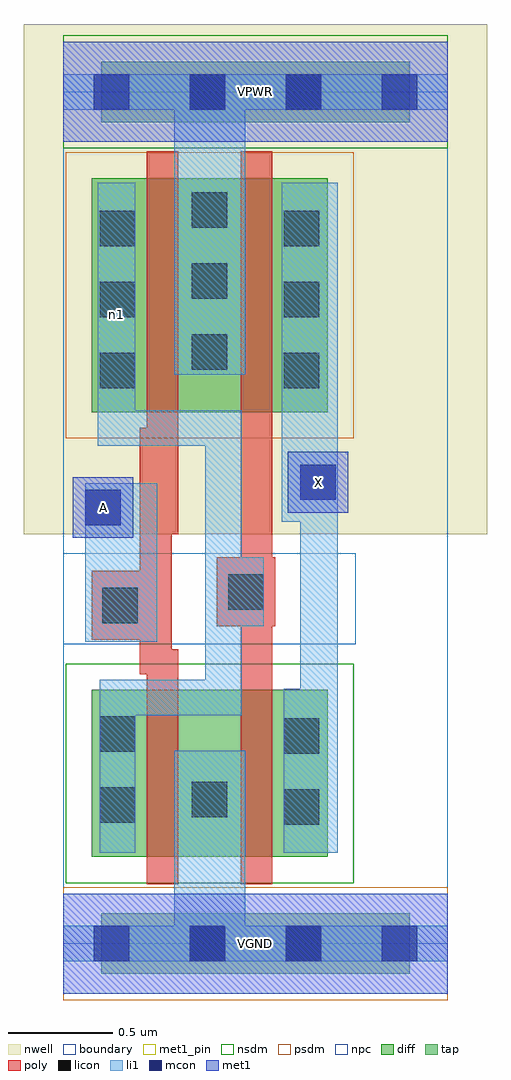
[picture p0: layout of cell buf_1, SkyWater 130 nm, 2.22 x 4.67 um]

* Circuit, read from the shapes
.subckt buf_1 A VGND VPWR X n1
XM1 VGND A n1 VGND sky130_fd_pr__nfet_01v8 w=0.8 l=0.15
XM2 X n1 VGND VGND sky130_fd_pr__nfet_01v8 w=0.8 l=0.15
XM3 VPWR A n1 VPWR sky130_fd_pr__pfet_01v8 w=1.12 l=0.15
XM4 X n1 VPWR VPWR sky130_fd_pr__pfet_01v8 w=1.12 l=0.15
.ends

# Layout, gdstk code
import gdstk
lib = gdstk.Library(unit=1e-6, precision=1e-09)
def R(c, l, rs):  # rectangles x0, y0, x1, y1
    for r in rs: c.add(gdstk.rectangle(r[:2], r[2:], *l))
def A(c, l, x, y, w, h, nx, ny, dx, dy):  # array of equal rectangles
    R(c, l, [(x+i*dx, y+j*dy, x+i*dx+w, y+j*dy+h) for i in range(nx) for j in range(ny)])
nwell = (64, 20)
diff = (65, 20)
tap = (65, 44)
poly = (66, 20)
licon = (66, 44)
li1 = (67, 20)
mcon = (67, 44)
met1_pin = (68, 16)
met1 = (68, 20)
nsdm = (93, 44)
psdm = (94, 20)
npc = (95, 20)
boundary = (235, 4)

buf_1 = lib.new_cell('buf_1')
R(buf_1, nwell, [(-0.19,1.96,2.03,4.405), (0,1.96,1.84,4.405)])
R(buf_1, diff, [(0.135,0.415,1.265,1.215), (0.135,2.545,1.265,3.665)])
R(buf_1, tap, [(0.18,-0.145,1.66,0.145), (0.18,3.935,1.66,4.225)])
R(buf_1, poly, [(0.4,0.285,0.52,3.795), (0.4,0.285,0.55,1.41), (0.85,0.285,1,3.795), (0.365,1.29,0.52,2.47), (0.135,1.455,0.52,1.785), (0.735,1.52,1.015,1.85), (0.4,1.96,0.55,3.795)])
A(buf_1, licon, 0.175, 2.66, 0.17, 0.17, 1, 3, 0, 0.34)
A(buf_1, licon, 1.055, 2.66, 0.17, 0.17, 1, 3, 0, 0.34)
A(buf_1, licon, 0.615, 2.75, 0.17, 0.17, 1, 3, 0, 0.34)
R(buf_1, licon, [(0.605,-0.085,0.775,0.085), (1.065,-0.085,1.235,0.085), (1.055,0.57,1.225,0.74), (0.175,0.58,0.345,0.75), (0.615,0.605,0.785,0.775), (1.055,0.91,1.225,1.08), (0.175,0.92,0.345,1.09), (0.185,1.535,0.355,1.705), (0.79,1.6,0.96,1.77), (0.605,3.995,0.775,4.165), (1.065,3.995,1.235,4.165)])
R(buf_1, li1, [(0,-0.085,1.84,0.085), (0.53,-0.085,0.87,0.925), (0.175,0.435,0.345,1.265), (1.055,0.435,1.315,1.22), (1.135,0.435,1.315,3.645), (0.175,1.095,0.855,1.265), (0.68,1.095,0.855,2.555), (0.105,1.445,0.45,2.205), (0.68,1.52,0.96,1.85), (1.045,2.02,1.315,3.645), (0.165,2.385,0.345,3.645), (0.165,2.385,0.855,2.555), (0.53,2.725,0.87,4.165), (0,3.995,1.84,4.165)])
A(buf_1, mcon, 0.145, -0.085, 0.17, 0.17, 4, 2, 0.46, 4.08)
R(buf_1, mcon, [(0.105,2.005,0.275,2.175), (1.135,2.125,1.305,2.295)])
R(buf_1, met1_pin, [(0,-0.24,1.84,0.24), (0.045,1.945,0.335,2.235), (1.075,2.065,1.365,2.355), (0,3.84,1.84,4.32)])
R(buf_1, met1, [(0,-0.24,1.84,0.24), (0.045,1.945,0.335,2.235), (1.075,2.065,1.365,2.355), (0,3.84,1.84,4.32)])
R(buf_1, nsdm, [(0.01,0.29,1.39,1.34), (0,3.81,1.84,4.35)])
R(buf_1, psdm, [(0,-0.27,1.84,0.27), (0.01,2.42,1.39,3.79)])
R(buf_1, npc, [(0,1.435,1.4,1.87)])
R(buf_1, boundary, [(0,0,1.84,4.08)])
buf_1.add(gdstk.Label('n1', (0.255,3.015), layer=67, texttype=5))
buf_1.add(gdstk.Label('A', (0.19,2.09), layer=68, texttype=5))
buf_1.add(gdstk.Label('X', (1.22,2.21), layer=68, texttype=5))
buf_1.add(gdstk.Label('VPWR', (0.92,4.08), layer=68, texttype=5))
buf_1.add(gdstk.Label('VGND', (0.92,0), layer=68, texttype=5))
buf_1.add(gdstk.Label('A', (0.19,2.09), layer=68, texttype=16))
buf_1.add(gdstk.Label('X', (1.22,2.21), layer=68, texttype=16))
buf_1.add(gdstk.Label('VPWR', (0.92,4.08), layer=68, texttype=16))
buf_1.add(gdstk.Label('VGND', (0.92,0), layer=68, texttype=16))

lib.write_gds('buf_1.gds')
